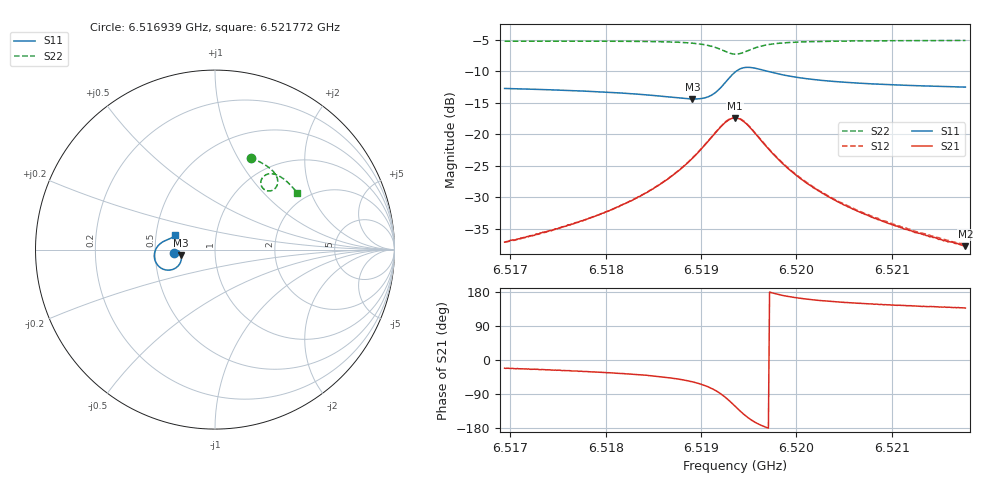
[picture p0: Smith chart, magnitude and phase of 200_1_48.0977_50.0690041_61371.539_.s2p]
#  HZ  S  RI  R  50.00
! Rohde & Schwarz Vector Network Analyzer
! Rohde-Schwarz,ZNB20-2Port,1311601062101988,3.16
! Created: UTC 12/23/2023, 3:54:39 AM
! freq[Hz]  re:S11  im:S11  re:S21  im:S21  re:S12  im:S12  re:S22  im:S22
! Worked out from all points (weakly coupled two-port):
!   401 points, 6.516939 GHz to 6.521772 GHz, reference 50 ohm
!   highest |S21| = -17.38 dB at 6.519355 GHz (marker M1); lowest = -37.7 dB at 6.521772 GHz (marker M2)
!   lowest |S11| = -14.4 dB at 6.518908 GHz (marker M3), VSWR 1.47, Z = 34.1 - j2.26 ohm
!   |S11| at or under -10 dB: start of sweep to 6.519366 GHz; 6.519699 GHz to end of sweep
!   |S22| runs from -7.3 to -5.1 dB; largest |S21 - S12| = 0.0042
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6.516939e9  -0.2307 -0.0182  0.013 -0.00514  0.0132 -0.00469  0.1989 0.5107
6.5173619e9  -0.2262 -0.0118  0.0152 -0.00725  0.0153 -0.00665  0.23 0.498
6.5177485e9  -0.2208 -0.00739  0.0179 -0.0103  0.0182 -0.00961  0.2588 0.4837
6.5182076e9  -0.2117 -0.00509  0.0228 -0.0169  0.0234 -0.0161  0.2933 0.4624
6.5185579e9  -0.2015 -0.00932  0.0286 -0.0275  0.0296 -0.0266  0.3202 0.4398
6.5187512e9  -0.1943 -0.0176  0.0326 -0.0387  0.034 -0.0379  0.3353 0.4218
6.5189083e9  -0.1883 -0.0319  0.0347 -0.0544  0.0365 -0.0539  0.3457 0.401
6.5190291e9  -0.1872 -0.0517  0.0321 -0.0739  0.0347 -0.0734  0.3499 0.3791
6.5191258e9  -0.1943 -0.0753  0.022 -0.0956  0.0252 -0.0955  0.3451 0.3563
6.5192586e9  -0.236 -0.1108  -0.0206 -0.1237  -0.017 -0.1253  0.3133 0.3281
6.519307e9  -0.2634 -0.1146  -0.0457 -0.1244  -0.0423 -0.1265  0.2937 0.3272
6.5193553e9  -0.2926 -0.1072  -0.0711 -0.115  -0.0683 -0.1178  0.2744 0.335
6.5194036e9  -0.3172 -0.0892  -0.0911 -0.0964  -0.089 -0.0999  0.2607 0.3507
6.519464e9  -0.3347 -0.0583  -0.1031 -0.0678  -0.1021 -0.0714  0.2553 0.3743
6.5195607e9  -0.3354 -0.0133  -0.0991 -0.0291  -0.099 -0.0322  0.2672 0.4039
6.5196694e9  -0.3201 0.0178  -0.0823 -0.00508  -0.0829 -0.00755  0.2897 0.4192
6.5199231e9  -0.2865 0.0456  -0.0515 0.0117  -0.0523 0.0104  0.3325 0.42
6.5201647e9  -0.2678 0.0544  -0.036 0.0137  -0.0367 0.0128  0.3597 0.4088
6.5205151e9  -0.2515 0.0611  -0.0241 0.0128  -0.0248 0.0123  0.3885 0.3891
6.5209742e9  -0.2387 0.0679  -0.0161 0.011  -0.0167 0.0109  0.4182 0.3622
6.52124e9  -0.2331 0.0716  -0.0133 0.0101  -0.0138 0.01  0.4331 0.3461
6.5217715e9  -0.2237 0.0788  -0.00952 0.00883  -0.0101 0.0087  0.4595 0.3132
